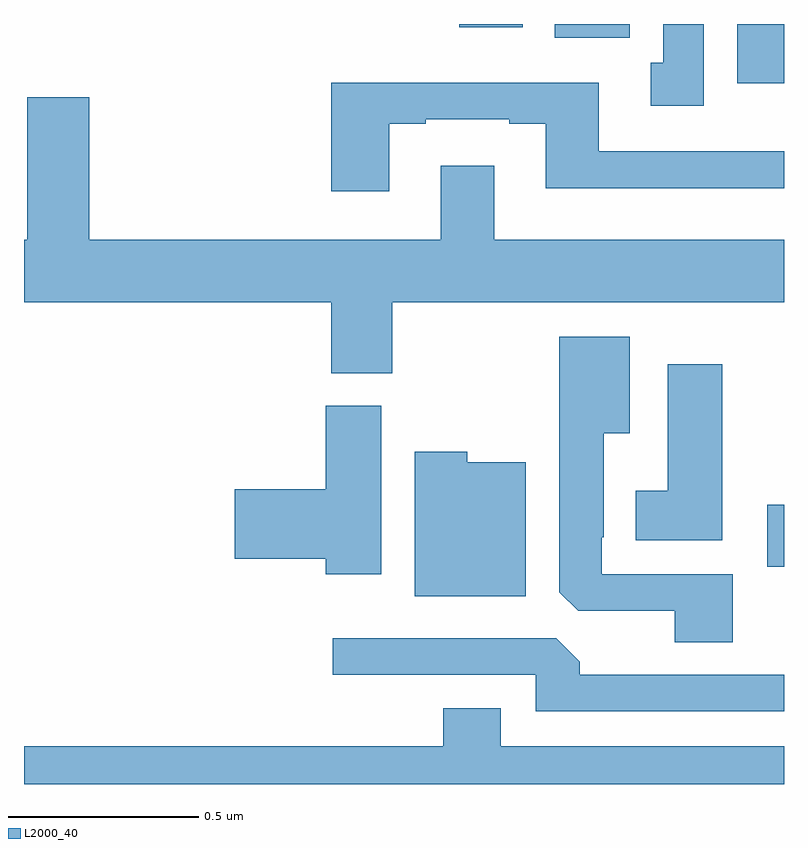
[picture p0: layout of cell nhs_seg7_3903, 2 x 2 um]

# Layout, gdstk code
import gdstk
lib = gdstk.Library(unit=1e-6, precision=1e-09)
def R(c, l, rs):  # rectangles x0, y0, x1, y1
    for r in rs: c.add(gdstk.rectangle(r[:2], r[2:], *l))
def P(c, l, *ps):  # polygons
    for p in ps: c.add(gdstk.Polygon(p, *l))
L2000_40 = (2000, 40)

nhs_seg7_3903 = lib.new_cell('nhs_seg7_3903')
R(nhs_seg7_3903, L2000_40, [(166.956,1014.572,167,1014.735), (166.877,1015.844,167,1016), (166.397,1015.964,166.594,1016), (166.145,1015.992,166.312,1016)])
P(nhs_seg7_3903, L2000_40, [(166.789,1016),(166.682,1016),(166.682,1015.898),(166.649,1015.898),(166.649,1015.785),(166.789,1015.785)],
  [(165.961,1015.737),(166.057,1015.737),(166.057,1015.749),(166.277,1015.749),(166.277,1015.737),(166.373,1015.737),(166.373,1015.568),(167,1015.568),(167,1015.665),(166.513,1015.665),(166.513,1015.846),(165.809,1015.846),(165.809,1015.56),(165.961,1015.56)],
  [(165.969,1015.268),(167,1015.268),(167,1015.432),(166.237,1015.432),(166.237,1015.627),(166.097,1015.627),(166.097,1015.432),(165.172,1015.432),(165.172,1015.807),(165.008,1015.807),(165.008,1015.432),(165,1015.432),(165,1015.268),(165.809,1015.268),(165.809,1015.081),(165.969,1015.081)],
  [(166.865,1014.552),(166.521,1014.552),(166.521,1014.649),(166.525,1014.649),(166.525,1014.923),(166.594,1014.923),(166.594,1015.177),(166.409,1015.177),(166.409,1014.505),(166.458,1014.456),(166.712,1014.456),(166.712,1014.373),(166.865,1014.373)],
  [(166.837,1015.105),(166.694,1015.105),(166.694,1014.772),(166.61,1014.772),(166.61,1014.641),(166.837,1014.641)],
  [(165.94,1014.996),(165.794,1014.996),(165.794,1014.776),(165.555,1014.776),(165.555,1014.593),(165.794,1014.593),(165.794,1014.552),(165.94,1014.552)],
  [(166.321,1014.847),(166.167,1014.847),(166.167,1014.874),(166.028,1014.874),(166.028,1014.494),(166.321,1014.494)],
  [(167,1014.288),(166.463,1014.288),(166.463,1014.322),(166.401,1014.384),(165.813,1014.384),(165.813,1014.288),(166.347,1014.288),(166.347,1014.192),(167,1014.192)],
  [(167,1014.1),(166.255,1014.1),(166.255,1014.199),(166.103,1014.199),(166.103,1014.1),(165,1014.1),(165,1014),(167,1014)])

lib.write_gds('nhs_seg7_3903.gds')
